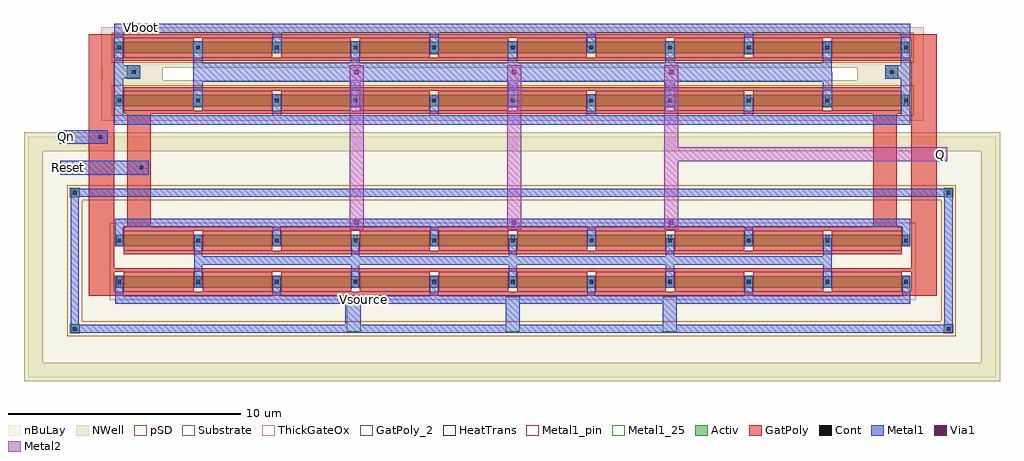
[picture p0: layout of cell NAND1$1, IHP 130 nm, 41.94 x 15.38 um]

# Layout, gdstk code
from math import pi, radians
import gdstk
lib = gdstk.Library(unit=1e-6, precision=1e-09)
def R(c, l, rs):  # rectangles x0, y0, x1, y1
    for r in rs: c.add(gdstk.rectangle(r[:2], r[2:], *l))
def A(c, l, x, y, w, h, nx, ny, dx, dy):  # array of equal rectangles
    R(c, l, [(x+i*dx, y+j*dy, x+i*dx+w, y+j*dy+h) for i in range(nx) for j in range(ny)])
Activ = (1, 0)
GatPoly = (5, 0)
GatPoly_2 = (5, 2)
Cont = (6, 0)
Metal1 = (8, 0)
Metal1_pin = (8, 2)
Metal1_25 = (8, 25)
Metal2 = (10, 0)
pSD = (14, 0)
Via1 = (19, 0)
NWell = (31, 0)
nBuLay = (32, 0)
Substrate = (40, 0)
ThickGateOx = (44, 0)
HeatTrans = (51, 0)

pmoshv_3_1 = lib.new_cell('pmosHV$3$1')
A(pmoshv_3_1, Activ, 0, 0, 0.3, 0.3, 11, 1, 3.38, 0)
R(pmoshv_3_1, Activ, [(0,0,34.1,0.5)])
A(pmoshv_3_1, GatPoly, 0.34, -0.18, 3, 0.86, 10, 1, 3.38, 0)
R(pmoshv_3_1, GatPoly_2, [(0.34,-0.18,3.34,0.68)])
A(pmoshv_3_1, Cont, 0.07, 0.17, 0.16, 0.16, 11, 1, 3.38, 0)
A(pmoshv_3_1, Metal1, 0.07, 0, 0.16, 0.5, 11, 1, 3.38, 0)
R(pmoshv_3_1, Metal1_pin, [(0.07,0,0.23,0.5), (3.45,0,3.61,0.5)])
R(pmoshv_3_1, pSD, [(-0.18,-0.4,34.28,0.9)])
R(pmoshv_3_1, NWell, [(-0.62,-0.62,34.72,1.12)])
R(pmoshv_3_1, Substrate, [(33.8,0,34.1,0.3)])
R(pmoshv_3_1, ThickGateOx, [(-0.62,-0.62,34.72,1.12)])
A(pmoshv_3_1, HeatTrans, 0.34, -0.18, 3, 0.86, 10, 1, 3.38, 0)
pmoshv_3_1.add(gdstk.Label('pmosHV', (1.84,0.25), layer=63, texttype=0))
pmoshv_3_1.add(gdstk.Label('pmos', (1.84,0.25), layer=51, texttype=0))
pmoshv_3_1.add(gdstk.Label('pmos', (5.22,0.25), layer=51, texttype=0))
pmoshv_3_1.add(gdstk.Label('pmos', (8.6,0.25), layer=51, texttype=0))
pmoshv_3_1.add(gdstk.Label('pmos', (11.98,0.25), layer=51, texttype=0))
pmoshv_3_1.add(gdstk.Label('pmos', (15.36,0.25), layer=51, texttype=0))
pmoshv_3_1.add(gdstk.Label('pmos', (18.74,0.25), layer=51, texttype=0))
pmoshv_3_1.add(gdstk.Label('pmos', (22.12,0.25), layer=51, texttype=0))
pmoshv_3_1.add(gdstk.Label('pmos', (25.5,0.25), layer=51, texttype=0))
pmoshv_3_1.add(gdstk.Label('pmos', (28.88,0.25), layer=51, texttype=0))
pmoshv_3_1.add(gdstk.Label('pmos', (32.26,0.25), layer=51, texttype=0))

nmoshv_1_1 = lib.new_cell('nmosHV$1$1')
A(nmoshv_1_1, Activ, 0, 0, 0.3, 0.3, 11, 1, 3.38, 0)
R(nmoshv_1_1, Activ, [(0,0,34.1,0.5)])
A(nmoshv_1_1, GatPoly, 0.34, -0.18, 3, 0.86, 10, 1, 3.38, 0)
R(nmoshv_1_1, GatPoly_2, [(0.34,-0.18,3.34,0.68)])
A(nmoshv_1_1, Cont, 0.07, 0.17, 0.16, 0.16, 11, 1, 3.38, 0)
A(nmoshv_1_1, Metal1, 0.07, 0, 0.16, 0.5, 11, 1, 3.38, 0)
R(nmoshv_1_1, Metal1_pin, [(0.07,0,0.23,0.5), (3.45,0,3.61,0.5)])
R(nmoshv_1_1, ThickGateOx, [(-0.27,-0.52,34.37,1.02)])
A(nmoshv_1_1, HeatTrans, 0.34, -0.18, 3, 0.86, 10, 1, 3.38, 0)
nmoshv_1_1.add(gdstk.Label('nmosHV', (1.84,0.25), layer=63, texttype=0))
nmoshv_1_1.add(gdstk.Label('nmosHV', (1.84,0.25), layer=51, texttype=0))
nmoshv_1_1.add(gdstk.Label('nmosHV', (5.22,0.25), layer=51, texttype=0))
nmoshv_1_1.add(gdstk.Label('nmosHV', (8.6,0.25), layer=51, texttype=0))
nmoshv_1_1.add(gdstk.Label('nmosHV', (11.98,0.25), layer=51, texttype=0))
nmoshv_1_1.add(gdstk.Label('nmosHV', (15.36,0.25), layer=51, texttype=0))
nmoshv_1_1.add(gdstk.Label('nmosHV', (18.74,0.25), layer=51, texttype=0))
nmoshv_1_1.add(gdstk.Label('nmosHV', (22.12,0.25), layer=51, texttype=0))
nmoshv_1_1.add(gdstk.Label('nmosHV', (25.5,0.25), layer=51, texttype=0))
nmoshv_1_1.add(gdstk.Label('nmosHV', (28.88,0.25), layer=51, texttype=0))
nmoshv_1_1.add(gdstk.Label('nmosHV', (32.26,0.25), layer=51, texttype=0))

c_m1_1_1 = lib.new_cell('C_M1$1$1')
R(c_m1_1_1, Cont, [(-0.08,-0.08,0.08,0.08)])
R(c_m1_1_1, Metal1, [(-0.15,-0.15,0.15,0.15)])

m1_m2_2_1 = lib.new_cell('M1_M2$2$1')
R(m1_m2_2_1, Metal1, [(-0.15,-0.15,0.15,0.15)])
R(m1_m2_2_1, Metal2, [(-0.19,-0.19,0.19,0.19)])
R(m1_m2_2_1, Via1, [(-0.095,-0.095,0.095,0.095)])

nand1_1 = lib.new_cell('NAND1$1')
R(nand1_1, Activ, [(-30.77,2.395,-30.35,2.795), (6.775,2.395,7.195,2.795), (-30.77,8.245,-30.35,8.645), (6.775,8.245,7.195,8.645), (-28.325,13.34,-27.755,13.925), (4.255,13.34,4.825,13.925)])
R(nand1_1, GatPoly, [(-29.965,4.015,-28.865,15.24), (-29,4.015,5.525,4.18), (5.385,4.015,6.475,15.24), (-28.97,5.04,5.425,5.205), (-28.45,5.79,4.97,5.955), (-28.3,6.11,-27.3,12.965), (3.755,6.11,4.755,12.965), (-28.45,6.815,4.97,6.98), (-28.445,11.835,4.965,11.97), (-28.455,12.83,4.955,12.965), (-29.075,14.11,5.445,14.245), (-28.99,15.105,5.45,15.24)])
R(nand1_1, Cont, [(-28.105,13.55,-27.945,13.71), (4.475,13.55,4.635,13.71)])
R(nand1_1, Metal1, [(-18.95,2.465,-18.28,3.965), (-12.04,2.465,-11.44,3.965), (-5.295,2.465,-4.695,3.965), (4.255,13.345,5.335,13.92), (-28.815,13.355,-27.755,13.915)])
R(nand1_1, NWell, [(-29.41,12.21,-26.775,15.105), (3.07,12.21,5.925,15.105)])
R(nand1_1, nBuLay, [(-32.57,0.505,9.02,10.855)])
R(nand1_1, ThickGateOx, [(-29.06,5.22,5.58,5.835), (-29.415,13.005,5.925,14.1)])
nand1_1.add(gdstk.FlexPath([(-28.645,6.305),(-28.645,7.155),(5.16,7.155),(5.16,6.305)], 0.35, ends="extended", simple_path=True, layer=8, datatype=0))  # Metal1
nand1_1.add(gdstk.FlexPath([(-1.6,6.305),(-1.6,6.655),(-1.6,7.03)], 0.35, ends="extended", simple_path=True, layer=8, datatype=0))  # Metal1
nand1_1.add(gdstk.FlexPath([(-8.36,6.305),(-8.36,6.815)], 0.35, ends="extended", simple_path=True, layer=8, datatype=0))  # Metal1
nand1_1.add(gdstk.FlexPath([(-15.12,6.305),(-15.12,6.83)], 0.35, ends="extended", simple_path=True, layer=8, datatype=0))  # Metal1
nand1_1.add(gdstk.FlexPath([(-21.885,6.305),(-21.885,6.98)], 0.35, ends="extended", simple_path=True, layer=8, datatype=0))  # Metal1
nand1_1.add(gdstk.FlexPath([(5.16,4.69),(5.16,3.84),(-28.645,3.84),(-28.645,4.69)], 0.35, ends="extended", simple_path=True, layer=8, datatype=0))  # Metal1
nand1_1.add(gdstk.FlexPath([(-21.885,4.69),(-21.885,4.34),(-21.885,3.965)], 0.35, ends="extended", simple_path=True, layer=8, datatype=0))  # Metal1
nand1_1.add(gdstk.FlexPath([(-15.125,4.69),(-15.125,4.18)], 0.35, ends="extended", simple_path=True, layer=8, datatype=0))  # Metal1
nand1_1.add(gdstk.FlexPath([(-8.365,4.69),(-8.365,4.165)], 0.35, ends="extended", simple_path=True, layer=8, datatype=0))  # Metal1
nand1_1.add(gdstk.FlexPath([(-1.6,4.69),(-1.6,4.015)], 0.35, ends="extended", simple_path=True, layer=8, datatype=0))  # Metal1
nand1_1.add(gdstk.FlexPath([(-25.26,6.465),(-25.26,4.53)], 0.35, ends="extended", simple_path=True, layer=8, datatype=0))  # Metal1
nand1_1.add(gdstk.FlexPath([(-4.985,6.305),(-4.985,4.53)], 0.35, ends="extended", simple_path=True, layer=8, datatype=0))  # Metal1
nand1_1.add(gdstk.FlexPath([(1.78,6.305),(1.78,4.53)], 0.35, ends="extended", simple_path=True, layer=8, datatype=0))  # Metal1
nand1_1.add(gdstk.FlexPath([(-25.26,5.525),(1.78,5.525)], 0.35, ends="extended", simple_path=True, layer=8, datatype=0))  # Metal1
nand1_1.add(gdstk.FlexPath([(-30.565,8.44),(6.98,8.44),(6.98,2.59),(-30.565,2.59),(-30.565,8.44)], 0.35, ends="extended", simple_path=True, layer=8, datatype=0))  # Metal1
nand1_1.add(gdstk.FlexPath([(-28.67,14.375),(-28.67,12.44)], 0.4, ends="extended", simple_path=True, layer=8, datatype=0))  # Metal1
nand1_1.add(gdstk.FlexPath([(-28.67,12.74),(-28.67,11.565),(5.135,11.565),(5.135,12.48)], 0.4, ends="extended", simple_path=True, layer=8, datatype=0))  # Metal1
nand1_1.add(gdstk.FlexPath([(-18.505,6.305),(-18.505,4.53)], 0.35, ends="extended", simple_path=True, layer=8, datatype=0))  # Metal1
nand1_1.add(gdstk.FlexPath([(-11.75,6.305),(-11.75,4.53)], 0.35, ends="extended", simple_path=True, layer=8, datatype=0))  # Metal1
nand1_1.add(gdstk.FlexPath([(-11.735,12.32),(-11.735,13.06)], 0.4, ends="extended", simple_path=True, layer=8, datatype=0))  # Metal1
nand1_1.add(gdstk.FlexPath([(-18.505,12.32),(-18.505,13.06)], 0.4, ends="extended", simple_path=True, layer=8, datatype=0))  # Metal1
nand1_1.add(gdstk.FlexPath([(-4.98,12.32),(-4.98,13.06)], 0.4, ends="extended", simple_path=True, layer=8, datatype=0))  # Metal1
nand1_1.add(gdstk.FlexPath([(-29.45,10.835),(-30.91,10.835)], 0.6, ends="extended", simple_path=True, layer=8, datatype=0))  # Metal1
nand1_1.add(gdstk.FlexPath([(-27.695,9.52),(-30.895,9.52)], 0.6, ends="extended", simple_path=True, layer=8, datatype=0))  # Metal1
nand1_1.add(gdstk.FlexPath([(5.135,14.335),(5.135,15.51),(-28.67,15.51),(-28.67,14.595)], 0.4, ends="extended", simple_path=True, layer=8, datatype=0))  # Metal1
nand1_1.add(gdstk.FlexPath([(-25.27,14.755),(-25.27,13.815),(1.775,13.815),(1.775,14.755)], 0.4, ends="extended", simple_path=True, layer=8, datatype=0))  # Metal1
nand1_1.add(gdstk.FlexPath([(-1.605,14.595),(-1.605,15.275)], 0.4, ends="extended", simple_path=True, layer=8, datatype=0))  # Metal1
nand1_1.add(gdstk.FlexPath([(-4.985,14.755),(-4.985,13.92)], 0.4, ends="extended", simple_path=True, layer=8, datatype=0))  # Metal1
nand1_1.add(gdstk.FlexPath([(-8.37,14.705),(-8.37,15.31)], 0.4, ends="extended", simple_path=True, layer=8, datatype=0))  # Metal1
nand1_1.add(gdstk.FlexPath([(-11.755,14.755),(-11.755,14.015)], 0.4, ends="extended", simple_path=True, layer=8, datatype=0))  # Metal1
nand1_1.add(gdstk.FlexPath([(-15.12,14.595),(-15.12,15.355)], 0.4, ends="extended", simple_path=True, layer=8, datatype=0))  # Metal1
nand1_1.add(gdstk.FlexPath([(-18.51,14.755),(-18.51,13.935)], 0.4, ends="extended", simple_path=True, layer=8, datatype=0))  # Metal1
nand1_1.add(gdstk.FlexPath([(-21.875,14.755),(-21.875,15.51),(-21.91,15.51)], 0.4, ends="extended", simple_path=True, layer=8, datatype=0))  # Metal1
nand1_1.add(gdstk.FlexPath([(1.78,12.32),(1.78,13.415),(-25.265,13.415),(-25.265,12.32)], 0.4, ends="extended", simple_path=True, layer=8, datatype=0))  # Metal1
nand1_1.add(gdstk.FlexPath([(-21.885,12.48),(-21.885,11.8)], 0.4, ends="extended", simple_path=True, layer=8, datatype=0))  # Metal1
nand1_1.add(gdstk.FlexPath([(-18.505,12.32),(-18.505,13.155)], 0.4, ends="extended", simple_path=True, layer=8, datatype=0))  # Metal1
nand1_1.add(gdstk.FlexPath([(-15.12,12.37),(-15.12,11.765)], 0.4, ends="extended", simple_path=True, layer=8, datatype=0))  # Metal1
nand1_1.add(gdstk.FlexPath([(-11.735,12.32),(-11.735,13.06)], 0.4, ends="extended", simple_path=True, layer=8, datatype=0))  # Metal1
nand1_1.add(gdstk.FlexPath([(-8.37,12.48),(-8.37,11.72)], 0.4, ends="extended", simple_path=True, layer=8, datatype=0))  # Metal1
nand1_1.add(gdstk.FlexPath([(-4.98,12.32),(-4.98,13.14)], 0.4, ends="extended", simple_path=True, layer=8, datatype=0))  # Metal1
nand1_1.add(gdstk.FlexPath([(-1.615,12.32),(-1.615,11.565),(-1.58,11.565)], 0.4, ends="extended", simple_path=True, layer=8, datatype=0))  # Metal1
nand1_1.add(gdstk.FlexPath([(5.135,14.375),(5.135,12.44),(5.135,12.44)], 0.4, ends="extended", simple_path=True, layer=8, datatype=0))  # Metal1
nand1_1.add(gdstk.FlexPath([(-11.685,7.155),(-11.685,13.615),(-11.685,13.615)], 0.6, ends="extended", simple_path=True, layer=10, datatype=0))  # Metal2
nand1_1.add(gdstk.FlexPath([(-11.685,7.155),(-11.685,13.615),(-11.685,13.615)], 0.6, ends="extended", simple_path=True, layer=10, datatype=0))  # Metal2
nand1_1.add(gdstk.FlexPath([(-18.455,7.155),(-18.455,13.615),(-18.455,13.615)], 0.6, ends="extended", simple_path=True, layer=10, datatype=0))  # Metal2
nand1_1.add(gdstk.FlexPath([(-4.93,7.155),(-4.93,13.615),(-4.93,13.615)], 0.6, ends="extended", simple_path=True, layer=10, datatype=0))  # Metal2
nand1_1.add(gdstk.FlexPath([(-4.93,10.1),(6.625,10.1),(6.625,10.1)], 0.6, ends="extended", simple_path=True, layer=10, datatype=0))  # Metal2
nand1_1.add(gdstk.FlexPath([(-30.565,8.44),(-30.565,2.59),(6.98,2.59),(6.98,8.44),(-30.565,8.44)], 0.64, ends="extended", simple_path=True, layer=14, datatype=0))  # pSD
nand1_1.add(gdstk.FlexPath([(-29.81,0.73),(8.795,0.73),(8.795,10.63),(-32.345,10.63),(-32.345,0.73),(-29.81,0.73)], 0.8, ends="extended", simple_path=True, layer=31, datatype=0))  # NWell
nand1_1.add(gdstk.FlexPath([(-11.74,2.765),(-11.74,3.665)], 0.6, ends="extended", simple_path=True, layer=8, datatype=25))  # Metal1_25
nand1_1.add(gdstk.FlexPath([(-18.58,2.765),(-18.58,3.665)], 0.6, ends="extended", simple_path=True, layer=8, datatype=25))  # Metal1_25
nand1_1.add(gdstk.FlexPath([(-4.995,2.765),(-4.995,3.665)], 0.6, ends="extended", simple_path=True, layer=8, datatype=25))  # Metal1_25
nand1_1.add(gdstk.Reference(pmoshv_3_1, (5.305,14.925), rotation=pi))
nand1_1.add(gdstk.Reference(pmoshv_3_1, (5.305,12.65), rotation=pi))
nand1_1.add(gdstk.Reference(nmoshv_1_1, (5.31,6.635), rotation=pi))
nand1_1.add(gdstk.Reference(nmoshv_1_1, (-28.79,4.36)))
nand1_1.add(gdstk.Reference(c_m1_1_1, (-30.565,8.44), rotation=pi))
nand1_1.add(gdstk.Reference(c_m1_1_1, (6.98,8.44), rotation=pi))
nand1_1.add(gdstk.Reference(c_m1_1_1, (-30.565,2.59), rotation=pi))
nand1_1.add(gdstk.Reference(c_m1_1_1, (6.98,2.59), rotation=pi))
nand1_1.add(gdstk.Reference(m1_m2_2_1, (-11.685,13.62), rotation=pi))
nand1_1.add(gdstk.Reference(m1_m2_2_1, (-11.69,7.155), rotation=pi))
nand1_1.add(gdstk.Reference(m1_m2_2_1, (-11.685,13.62), rotation=pi))
nand1_1.add(gdstk.Reference(m1_m2_2_1, (-11.69,7.155), rotation=pi))
nand1_1.add(gdstk.Reference(m1_m2_2_1, (-18.46,7.155), rotation=pi))
nand1_1.add(gdstk.Reference(m1_m2_2_1, (-18.455,13.62), rotation=pi))
nand1_1.add(gdstk.Reference(m1_m2_2_1, (-4.935,7.155), rotation=pi))
nand1_1.add(gdstk.Reference(m1_m2_2_1, (-4.93,13.62), rotation=pi))
nand1_1.add(gdstk.Reference(c_m1_1_1, (-29.46,10.84), rotation=pi))
nand1_1.add(gdstk.Reference(c_m1_1_1, (-27.7,9.525), rotation=pi))
nand1_1.add(gdstk.Label('Vboot', (-27.685,15.555), layer=8, texttype=25))
nand1_1.add(gdstk.Label('Vsource', (-18.145,3.84), layer=8, texttype=25))
nand1_1.add(gdstk.Label('Reset', (-30.83,9.52), layer=8, texttype=25))
nand1_1.add(gdstk.Label('Qn', (-30.91,10.835), layer=8, texttype=25))
nand1_1.add(gdstk.Label('Q', (6.62,10.1), layer=10, texttype=25))

lib.write_gds('NAND1_1.gds')
